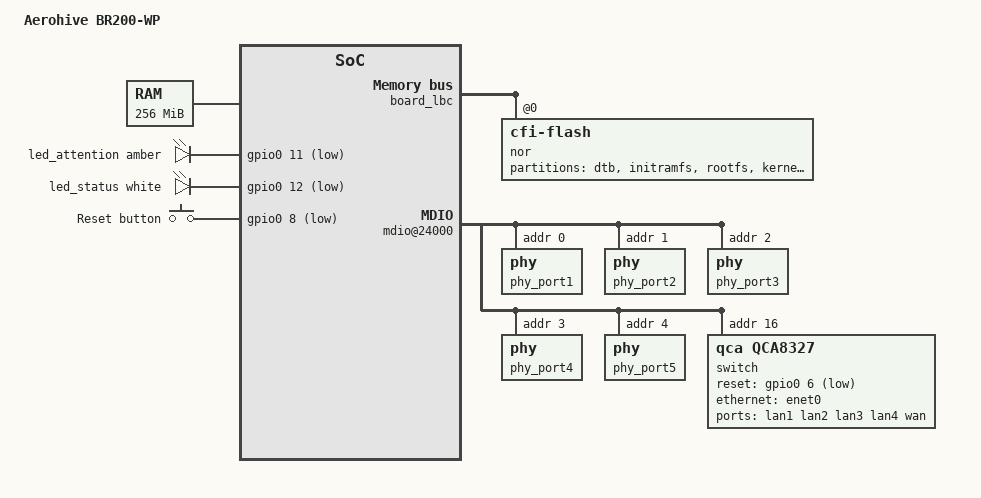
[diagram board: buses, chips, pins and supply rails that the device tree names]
// SPDX-License-Identifier: GPL-2.0-or-later
/*
 * Aerohive BR200-WP Device Tree Source
 *
 * Based on: Aerohive HiveAP-330 Device Tree Source
 *
 * Copyright (C) 2017 Chris Blake <chrisrblake93@gmail.com>
 * Copyright (C) 2023 Pawel Dembicki <paweldembicki@gmail.com>
 */

#include <dt-bindings/leds/common.h>
#include <dt-bindings/input/input.h>
#include <dt-bindings/gpio/gpio.h>

/include/ "fsl/p1020si-pre.dtsi"

/ {
	model = "Aerohive BR200-WP";
	compatible = "aerohive,br200-wp";

	chosen {
		bootargs = "console=ttyS0,9600";
		bootargs-override = "console=ttyS0,9600 noinitrd";
	};

	aliases {
		led-boot = &led_attention;
		led-failsafe = &led_attention;
		led-running = &led_status;
		led-upgrade = &led_status;
		label-mac-device = &enet0;
	};

	memory {
		device_type = "memory";
	};

	cpus {
		/delete-property/ PowerPC,P1020@1; /* P1011 have one core only */
	};

	board_lbc: lbc: localbus@ffe05000 {
		reg = <0 0xffe05000 0 0x1000>;
		ranges = <0x0 0x0 0x0 0xec000000 0x4000000>;

		nor@0 {
			compatible = "cfi-flash";
			reg = <0x0 0x0 0x4000000>;
			bank-width = <2>;
			device-width = <1>;

			partitions {
				compatible = "fixed-partitions";
				#address-cells = <1>;
				#size-cells = <1>;

				partition@0 {
					reg = <0x0 0x40000>;
					label = "dtb";
				};

				partition@40000 {
					reg = <0x40000 0x40000>;
					label = "initramfs";
				};

				partition@80000 {
					reg = <0x80000 0x27c0000>;
					label = "rootfs";
					linux,rootfs;
				};

				partition@2840000 {
					reg = <0x2840000 0x800000>;
					label = "kernel";
				};

				partition@3040000 {
					reg = <0x3040000 0xec0000>;
					label = "stock-jffs2";
					read-only;
				};

				partition@3f00000 {
					reg = <0x3f00000 0x20000>;
					label = "hw-info";
					read-only;

					nvmem-layout {
						compatible = "fixed-layout";
						#address-cells = <1>;
						#size-cells = <1>;

						macaddr_hwinfo_0: macaddr@0 {
							compatible = "mac-base";
							reg = <0x0 0x6>;
							#nvmem-cell-cells = <1>;
						};
					};
				};

				partition@3f20000 {
					reg = <0x3f20000 0x20000>;
					label = "boot-info";
					read-only;
				};

				partition@3f40000 {
					reg = <0x3f40000 0x20000>;
					label = "boot-info-backup";
					read-only;
				};

				partition@3f60000 {
					reg = <0x3f60000 0x20000>;
					label = "u-boot-env";
				};

				partition@3f80000 {
					reg = <0x3f80000 0x80000>;
					label = "u-boot";
					read-only;
				};

				firmware@0 {
					reg = <0x0 0x3040000>;
					label = "firmware";
				};
			};
		};
	};

	board_soc: soc: soc@ffe00000 {
		ranges = <0x0 0x0 0xffe00000 0x100000>;

		mdio@24000 {

			phy_port1: phy@0 {
				reg = <0>;
			};

			phy_port2: phy@1 {
				reg = <1>;
			};

			phy_port3: phy@2 {
				reg = <2>;
			};

			phy_port4: phy@3 {
				reg = <3>;
			};

			phy_port5: phy@4 {
				reg = <4>;
			};

			switch@10 {
				compatible = "qca,qca8327";
				reg = <0x10>;
				reset-gpios = <&gpio0 6 GPIO_ACTIVE_LOW>;

				ports {
					#address-cells = <1>;
					#size-cells = <0>;

					port@1 {
						reg = <1>;
						label = "lan1";
						phy-handle = <&phy_port1>;
						nvmem-cells = <&macaddr_hwinfo_0 2>;
						nvmem-cell-names = "mac-address";
					};

					port@2 {
						reg = <2>;
						label = "lan2";
						phy-handle = <&phy_port2>;
						nvmem-cells = <&macaddr_hwinfo_0 3>;
						nvmem-cell-names = "mac-address";
					};

					port@3 {
						reg = <3>;
						label = "lan3";
						phy-handle = <&phy_port3>;
						nvmem-cells = <&macaddr_hwinfo_0 4>;
						nvmem-cell-names = "mac-address";
					};

					port@4 {
						reg = <4>;
						label = "lan4";
						phy-handle = <&phy_port4>;
						nvmem-cells = <&macaddr_hwinfo_0 5>;
						nvmem-cell-names = "mac-address";
					};

					port@5 {
						reg = <5>;
						label = "wan";
						phy-handle = <&phy_port5>;
						nvmem-cells = <&macaddr_hwinfo_0 0>;
						nvmem-cell-names = "mac-address";
					};

					port@6 {
						reg = <6>;
						ethernet = <&enet0>;
						phy-mode = "rgmii-id";

						fixed-link {
							speed = <1000>;
							full-duplex;
						};
					};
				};
			};
		};

		mdio@25000 {
			status = "disabled";
		};

		mdio@26000 {
			status = "disabled";
		};

		enet0: ethernet@b0000 {
			phy-connection-type = "rgmii-id";
			nvmem-cells = <&macaddr_hwinfo_0 0>;
			nvmem-cell-names = "mac-address";

			fixed-link {
				speed = <1000>;
				full-duplex;
			};
		};

		enet1: ethernet@b1000 {
			status = "disabled";
		};

		enet2: ethernet@b2000 {
			status = "disabled";
		};

		gpio0: gpio-controller@fc00 {
		};

		usb@22000 {
			phy_type = "ulpi";
			dr_mode = "host";
		};

		usb@23000 {
			status = "disabled";
		};
	};

	pci0: pcie@ffe09000 {
		reg = <0 0xffe09000 0 0x1000>;
		ranges = <0x2000000 0x0 0xa0000000 0 0xa0000000 0x0 0x20000000>,
			  <0x1000000 0x0 0x00000000 0 0xffc10000 0x0 0x10000>;

		status = "disabled";

		pcie@0 {
			ranges = <0x2000000 0x0 0xa0000000
				  0x2000000 0x0 0xa0000000
				  0x0 0x20000000>,
				 <0x1000000 0x0 0x0
				  0x1000000 0x0 0x0
				  0x0 0x100000>;
		};
	};

	pci1: pcie@ffe0a000 {
		reg = <0x0 0xffe0a000 0x0 0x1000>;
		ranges = <0x2000000 0x0 0xc0000000 0x0 0xc0000000 0x0 0x20000000>,
			  <0x1000000 0x0 0x00000000 0x0 0xffc20000 0x0 0x10000>;

		reset-gpios = <&gpio0 15 GPIO_ACTIVE_LOW>;

		pcie@0 {
			ranges = <0x2000000 0x0 0xc0000000
				  0x2000000 0x0 0xc0000000
				  0x0 0x20000000>,
				 <0x1000000 0x0 0x0
				  0x1000000 0x0 0x0
				  0x0 0x100000>;

			ath9k: wifi@0,0 {
				reg = <0x0000 0 0 0 0>;
				#gpio-cells = <2>;
				gpio-controller;
				nvmem-cells = <&macaddr_hwinfo_0 16>;
				nvmem-cell-names = "mac-address";
			};
		};
	};

	leds {
		compatible = "gpio-leds";

		led_attention: led-0 {
			gpios = <&gpio0 11 GPIO_ACTIVE_LOW>;
			color = <LED_COLOR_ID_AMBER>;
			function = LED_FUNCTION_STATUS;
		};

		led_status: led-1 {
			gpios = <&gpio0 12 GPIO_ACTIVE_LOW>;
			color = <LED_COLOR_ID_WHITE>;
			function = LED_FUNCTION_STATUS;
		};
	};

	buttons {
		compatible = "gpio-keys";

		reset {
			label = "Reset button";
			gpios = <&gpio0 8 GPIO_ACTIVE_LOW>;
			linux,code = <KEY_RESTART>;
		};
	};
};

/include/ "fsl/p1020si-post.dtsi"

/ {
	chosen {
		stdout-path = "/soc@ffe00000/serial@4500";
	};

	cpus {
		PowerPC,P1020@0 {
			i-cache-sets = <0x80>;
			i-cache-size = <0x8000>;
			i-cache-block-size = <0x20>;
			d-cache-sets = <0x80>;
			d-cache-size = <0x8000>;
			d-cache-block-size = <0x20>;
			clock-frequency = <0x2756cd00>;
			bus-frequency = <0x13ab6680>;
			timebase-frequency = <0x2756cd0>;
		};
	};

	memory {
		reg = <0x00 0x00 0x00 0x10000000>;
	};

	localbus@ffe05000 {
		bus-frequency = <0x13ab668>;
	};

	soc@ffe00000 {
		bus-frequency = <0x13ab6680>;

		serial@4500 {
			clock-frequency = <0x13ab6680>;
		};

		serial@4600 {
			clock-frequency = <0x13ab6680>;
		};
	};

	pcie@ffe09000 {
		clock-frequency = <0x1fca055>;
	};

	pcie@ffe0a000 {
		clock-frequency = <0x1fca055>;
	};
};
